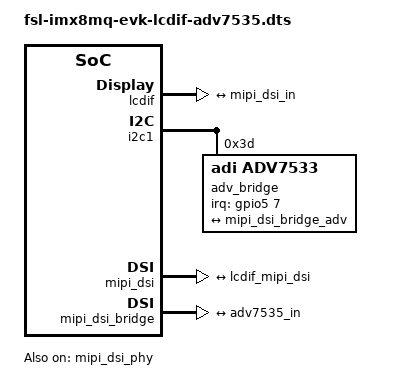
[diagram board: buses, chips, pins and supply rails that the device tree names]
/*
 * Copyright 2017 NXP
 *
 * This program is free software; you can redistribute it and/or
 * modify it under the terms of the GNU General Public License
 * as published by the Free Software Foundation; either version 2
 * of the License, or (at your option) any later version.
 *
 * This program is distributed in the hope that it will be useful,
 * but WITHOUT ANY WARRANTY; without even the implied warranty of
 * MERCHANTABILITY or FITNESS FOR A PARTICULAR PURPOSE.  See the
 * GNU General Public License for more details.
 */

#include "fsl-imx8mq-evk.dts"

/ {
	display-subsystem {
		status = "disabled";
	};
};

&irqsteer_dcss {
	status = "disabled";
};

&dcss {
	status = "disabled";
};

&hdmi {
	status = "disabled";
};

&lcdif {
	status = "okay";
	max-res = <1920>, <1080>;

	port@0 {
		lcdif_mipi_dsi: mipi-dsi-endpoint {
			remote-endpoint = <&mipi_dsi_in>;
		};
	};
};

&i2c1 {
	adv_bridge: adv7535@3d {
		compatible = "adi,adv7533";
		reg = <0x3d>;
		adi,addr-cec = <0x3b>;
		adi,dsi-lanes = <4>;
		pinctrl-0 = <&pinctrl_i2c1_dsi_ts_int>;
		interrupt-parent = <&gpio5>;
		interrupts = <7 IRQ_TYPE_LEVEL_LOW>;

		status = "okay";

		port {
			adv7535_in: endpoint {
				remote-endpoint = <&mipi_dsi_bridge_adv>;
			};
		};
	};
};

&mipi_dsi_phy {
	status = "okay";
};

&mipi_dsi {
	status = "okay";
	as_bridge;
	sync-pol = <1>;
	pwr-delay = <10>;

	port@1 {
		mipi_dsi_in: endpoint {
			remote-endpoint = <&lcdif_mipi_dsi>;
		};
	};
};

&mipi_dsi_bridge {
	status = "okay";

	port@1 {
		mipi_dsi_bridge_adv: endpoint {
			remote-endpoint = <&adv7535_in>;
		};
	};
};

&iomuxc {
	imx8mq-evk {
		pinctrl_i2c1_dsi_ts_int: dsi_ts_int {
			fsl,pins = <
				MX8MQ_IOMUXC_ECSPI1_MOSI_GPIO5_IO7              0x19
			>;
		};
	};
};
